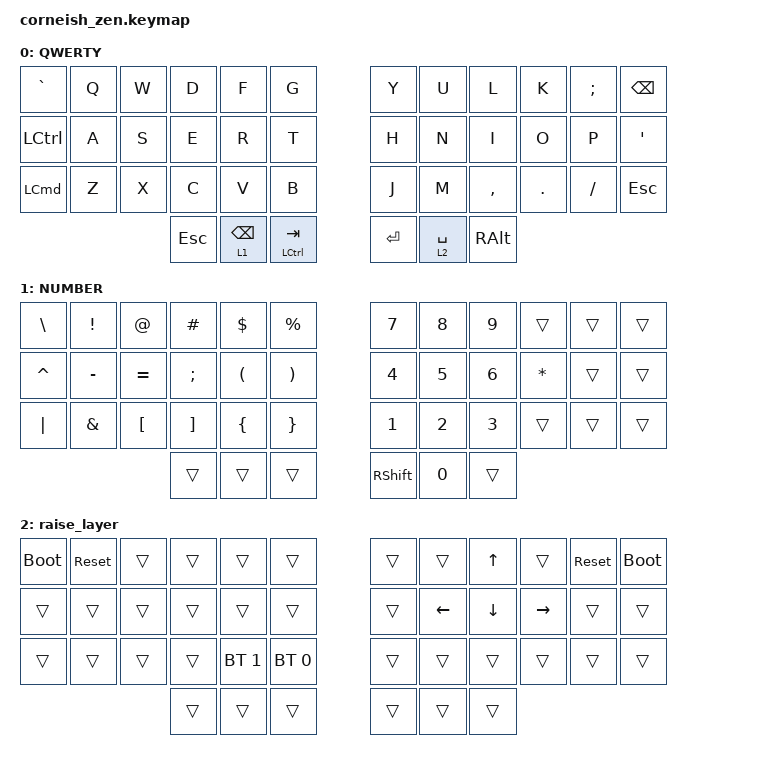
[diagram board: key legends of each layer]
/*
 * Copyright (c) 2020 The ZMK Contributors
 *
 * SPDX-License-Identifier: MIT
 */

#include <behaviors.dtsi>
#include <dt-bindings/zmk/bt.h>
#include <dt-bindings/zmk/keys.h>

/ {
    chosen {
        zmk,matrix_transform = &default_transform;

        // zmk,matrix_transform = &five_column_transform;
    };
};

/ {
    behaviors {
        td0: td0 {
            compatible = "zmk,behavior-tap-dance";
            label = "TD0";
            #binding-cells = <0>;
            bindings = <&kp LEFT_SHIFT>, <&kp CAPS>;
        };
    };

    keymap {
        compatible = "zmk,keymap";

        default_layer {
            display-name = "QWERTY";

            // --------------------------------------------------------------------------------
            // |  TAB |  Q  |  W  |  E  |  R  |  T  |   |  Y  |  U   |  I  |  O  |  P  | BKSP |
            // | CTRL |  A  |  S  |  D  |  F  |  G  |   |  H  |  J   |  K  |  L  |  ;  |  '   | 
            // | SHFT |  Z  |  X  |  C  |  V  |  B  |   |  N  |  M   |  ,  |  .  |  /  | ESC  |
            //                    | GUI | LWR | SPC |   | ENT | RSE  | ALT |

            bindings = <
&kp GRAVE         &kp Q  &kp W  &kp D    &kp F            &kp G                   &kp Y      &kp U        &kp L      &kp K    &kp SEMICOLON  &kp BSPC
&kp LCTRL         &kp A  &kp S  &kp E    &kp R            &kp T                   &kp H      &kp N        &kp I      &kp O    &kp P          &kp SQT
&kp LEFT_COMMAND  &kp Z  &kp X  &kp C    &kp V            &kp B                   &kp J      &kp M        &kp COMMA  &kp DOT  &kp FSLH       &kp ESC
                                &kp ESC  &lt 1 BACKSPACE  &mt LEFT_CONTROL TAB    &kp ENTER  &lt 2 SPACE  &kp RALT
            >;
        };

        lower_layer {
            display-name = "NUMBER";

            // -----------------------------------------------------------------------------------------
            // |  TAB |  1  |  2  |  3  |  4  |  5  |   |  6  |  7  |  8  |  9  |  0  | BKSP |
            // | BTCLR| BT1 | BT2 | BT3 | BT4 | BT5 |   | LFT | DWN |  UP | RGT |     |      |
            // | SHFT |     |     |     |     |     |   |     |     |     |     |     |      |
            //                    | GUI |     | SPC |   | ENT |     | ALT |

            bindings = <
&kp BACKSLASH  &kp EXCL   &kp AT            &kp HASH           &kp DOLLAR            &kp PERCENT              &kp N7           &kp N8  &kp NUMBER_9  &trans     &trans  &trans
&kp CARET      &kp MINUS  &kp EQUAL         &kp SEMI           &kp LEFT_PARENTHESIS  &kp RIGHT_PARENTHESIS    &kp NUMBER_4     &kp N5  &kp NUMBER_6  &kp ASTRK  &trans  &trans
&kp PIPE       &kp AMPS   &kp LEFT_BRACKET  &kp RIGHT_BRACKET  &kp LEFT_BRACE        &kp RIGHT_BRACE          &kp N1           &kp N2  &kp N3        &trans     &trans  &trans
                                            &trans             &trans                &trans                   &kp RIGHT_SHIFT  &kp N0  &trans
            >;
        };

        raise_layer {
            bindings = <
&bootloader  &sys_reset  &trans  &trans  &trans        &trans          &trans  &trans          &kp UP_ARROW    &trans     &sys_reset  &bootloader
&trans       &trans      &trans  &trans  &trans        &trans          &trans  &kp LEFT_ARROW  &kp DOWN_ARROW  &kp RIGHT  &trans      &trans
&trans       &trans      &trans  &trans  &bt BT_SEL 1  &bt BT_SEL 0    &trans  &trans          &trans          &trans     &trans      &trans
                                 &trans  &trans        &trans          &trans  &trans          &trans
            >;
        };
    };
};
